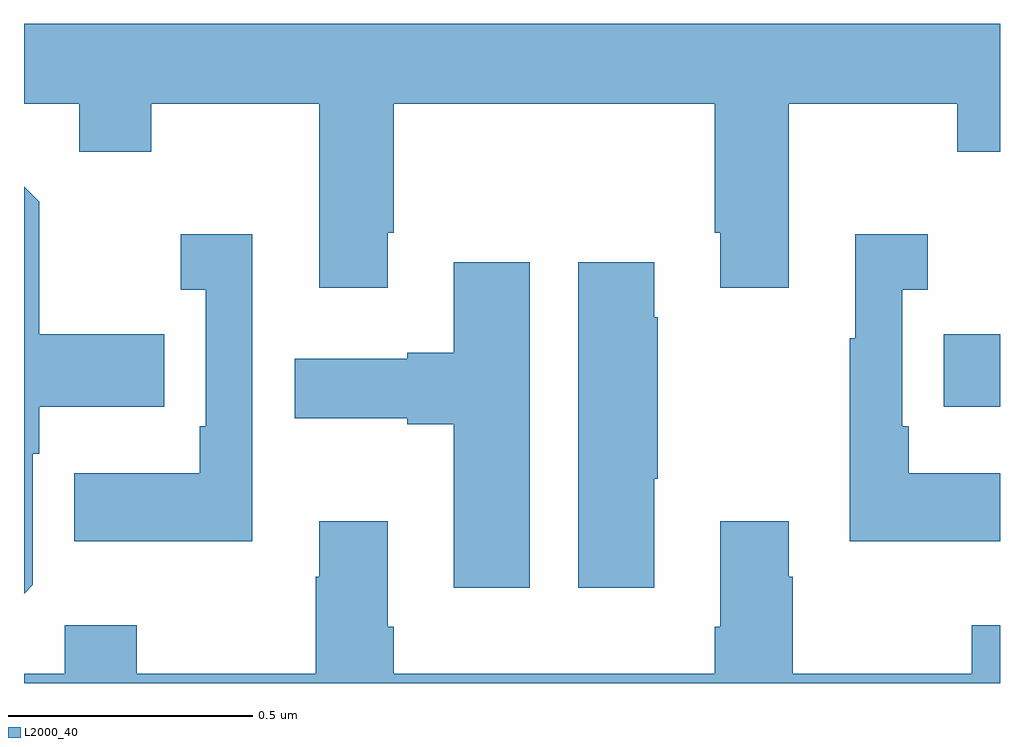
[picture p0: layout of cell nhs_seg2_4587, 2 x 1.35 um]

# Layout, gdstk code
import gdstk
lib = gdstk.Library(unit=1e-6, precision=1e-09)
def R(c, l, rs):  # rectangles x0, y0, x1, y1
    for r in rs: c.add(gdstk.rectangle(r[:2], r[2:], *l))
def P(c, l, *ps):  # polygons
    for p in ps: c.add(gdstk.Polygon(p, *l))
L2000_40 = (2000, 40)

nhs_seg2_4587 = lib.new_cell('nhs_seg2_4587')
R(nhs_seg2_4587, L2000_40, [(169.885,628.367,170,628.515)])
P(nhs_seg2_4587, L2000_40, [(168.745,628.723),(168.758,628.723),(168.758,628.988),(169.415,628.988),(169.415,628.723),(169.427,628.723),(169.427,628.611),(169.567,628.611),(169.567,628.988),(169.912,628.988),(169.912,628.889),(170,628.889),(170,629.152),(168,629.152),(168,628.988),(168.113,628.988),(168.113,628.889),(168.261,628.889),(168.261,628.988),(168.605,628.988),(168.605,628.611),(168.745,628.611)],
  [(168.018,628.002),(168.018,628.271),(168.031,628.271),(168.031,628.367),(168.287,628.367),(168.287,628.515),(168.031,628.515),(168.031,628.787),(168,628.818),(168,627.984)],
  [(168.468,628.72),(168.321,628.72),(168.321,628.607),(168.372,628.607),(168.372,628.327),(168.36,628.327),(168.36,628.231),(168.103,628.231),(168.103,628.091),(168.468,628.091)],
  [(170,628.231),(169.813,628.231),(169.813,628.327),(169.8,628.327),(169.8,628.607),(169.852,628.607),(169.852,628.72),(169.703,628.72),(169.703,628.507),(169.692,628.507),(169.692,628.091),(170,628.091)],
  [(169.036,628.663),(168.881,628.663),(168.881,628.478),(168.785,628.478),(168.785,628.465),(168.555,628.465),(168.555,628.343),(168.785,628.343),(168.785,628.331),(168.881,628.331),(168.881,627.996),(169.036,627.996)],
  [(169.291,628.219),(169.299,628.219),(169.299,628.55),(169.291,628.55),(169.291,628.663),(169.136,628.663),(169.136,627.996),(169.291,627.996)],
  [(170,627.919),(169.942,627.919),(169.942,627.82),(169.575,627.82),(169.575,628.019),(169.567,628.019),(169.567,628.132),(169.427,628.132),(169.427,627.916),(169.415,627.916),(169.415,627.82),(168.758,627.82),(168.758,627.916),(168.745,627.916),(168.745,628.132),(168.605,628.132),(168.605,628.019),(168.598,628.019),(168.598,627.82),(168.231,627.82),(168.231,627.919),(168.084,627.919),(168.084,627.82),(168,627.82),(168,627.8),(170,627.8)])

lib.write_gds('nhs_seg2_4587.gds')
